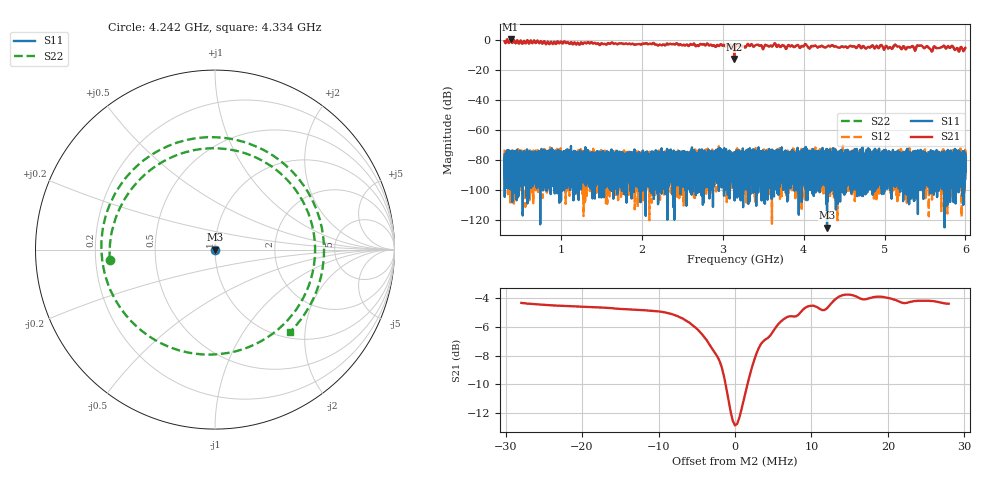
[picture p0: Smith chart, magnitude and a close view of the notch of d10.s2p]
!Agilent Technologies,N5230C,SG49000117,A.08.50.07
!Agilent N5230C: A.08.50.07
!Date: Monday, March 18, 2024 19:02:14
!Correction: S11(Off)
!S21(Off)
!S12(Off)
!S22(Off)
!S2P File: Measurements: S11, S21, S12, S22:
# Hz S  RI  R 50
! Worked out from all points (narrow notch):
!   20001 points, 300 MHz to 6 GHz, reference 50 ohm
!   highest |S21| = 0.44 dB at 373.5 MHz (marker M1); lowest = -12.9 dB at 3.14 GHz (marker M2)
!   notch at M2: 9.2 dB deep, 4.66 MHz wide at half that depth
!   lowest |S11| = -125.3 dB at 4.289 GHz (marker M3), VSWR 1.00, Z = 50 + j3.87e-06 ohm
!   |S11| at or under -10 dB: start of sweep to end of sweep
!   |S22| runs from -12.8 to 0.5 dB; largest |S21 - S12| = 1.1
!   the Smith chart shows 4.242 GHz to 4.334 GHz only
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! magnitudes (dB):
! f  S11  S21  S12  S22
! 300 MHz  -76.7  -1.0  -73.2  -1.0
! 328.8 MHz  -81.6  0.1  -80.1  0.2
! 373.5 MHz  -99.9  0.4  -85.5  0.5
! 1.25 GHz  -81.0  -1.8  -83.9  -1.7
! 2.2 GHz  -89.2  -3.8  -79.7  -3.8
! 3.076 GHz  -88.8  -3.5  -92.1  -3.5
! 3.14 GHz  -75.1  -12.9  -80.1  -12.8
! 3.15 GHz  -84.2  -4.5  -81.6  -4.5
! 3.33 GHz  -77.8  -4.1  -76.8  -4.1
! 3.485 GHz  -80.3  -4.6  -79.7  -4.6
! 3.633 GHz  -75.3  -2.6  -76.8  -2.5
! 4.1 GHz  -79.0  -4.1  -88.7  -4.0
! 4.289 GHz  -125.3  -4.5  -77.9  -4.4
! 5.05 GHz  -88.2  -5.8  -76.5  -5.7
! 5.138 GHz  -74.9  -3.5  -79.7  -3.5
! 5.372 GHz  -83.1  -7.1  -79.9  -7.2
! 5.432 GHz  -92.2  -4.0  -83.2  -4.0
! 5.574 GHz  -73.6  -7.0  -89.0  -7.0
! 5.72 GHz  -80.7  -4.5  -80.4  -4.5
! 5.932 GHz  -94.2  -6.3  -85.2  -6.3
! 5.971 GHz  -78.7  -7.3  -99.0  -7.4
! 6 GHz  -80.4  -5.4  -74.9  -5.4
